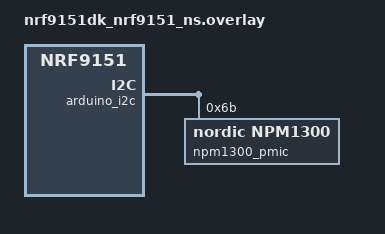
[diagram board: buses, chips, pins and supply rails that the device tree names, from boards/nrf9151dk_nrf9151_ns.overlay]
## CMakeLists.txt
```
cmake_minimum_required(VERSION 3.20.0)

find_package(Zephyr REQUIRED HINTS $ENV{ZEPHYR_BASE})
project(full_app_template)

# Application sources
target_sources(app PRIVATE
  src/main.c
  src/led.c
)

# ── cJSON include path ────────────────────────────────────────────────────────
target_include_directories(app PRIVATE
  ${ZEPHYR_CJSON_MODULE_DIR}
)

# ── Root CA cert ──────────────────────────────────────────────────────────────
# The Conexio Root CA (ConexioRootCA1.pem) is now embedded by the SDK itself.
# It lives in sdk/src/certs/ and is generated into conexio_root_ca.pem.inc
# by the SDK CMakeLists.txt — no entry needed here.
```

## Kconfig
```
mainmenu "Conexio Advanced Sample App"

# All production-grade feature configuration (PSM, FOTA, offline buffer,
# retry/watchdog) is defined in conexio-cloud-sdk/Kconfig under the
# CONFIG_CONEXIO_CLOUD_* namespace. Configure features via prj.conf.

config CONEXIO_SAMPLE_SIMULATED_SENSORS
	bool "Use simulated (random) sensor data"
	default y
	help
	  When enabled (default), temperature and humidity callbacks return
	  random values for demonstration purposes. A compiler warning is
	  emitted to prevent accidental production builds with fake data.

	  Set to n (CONFIG_CONEXIO_SAMPLE_SIMULATED_SENSORS=n in prj.conf)
	  and implement the real sensor reads in main.c before deploying
	  to production hardware.

config CELL_LOCATION
	bool "Enable cellular location for AWS Location Service"
	default n
	select LTE_LC_NEIGHBOR_CELL_MEAS_MODULE
	help
	  Enables AT%NCELLMEAS neighbor cell measurement and publishes the
	  results as telemetry metrics (_loc_mcc, _loc_mnc, _loc_cell_id,
	  _loc_tac, _loc_earfcn, _loc_rsrp, _loc_timing_adv, _loc_neighbors).

	  The cloud Lambda uses these metrics to call a positioning solver
	  (HERE / Combain) and update an AWS Location Tracker resource.
	  No positioning runs on the device — the firmware only collects
	  raw cell data.

	  Requires LTE_LC_NEIGHBOR_CELL_MEAS_MODULE (auto-selected).
	  Add CONFIG_CELL_LOCATION=y to prj.conf to enable.

source "Kconfig.zephyr"
```

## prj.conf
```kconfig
# =============================================================================
# Conexio Advanced Sample App — prj.conf
# nRF Connect SDK v3.2.1 / Conexio Stratus Pro (nRF9151)
#
# Most SDK dependencies (MQTT, modem, NTP, NVS, flash, FOTA subsystems,
# TLS, HTTP client, HWINFO, etc.) are auto-selected by CONFIG_CONEXIO_CLOUD
# via the SDK Kconfig. Only application-level overrides and options that
# have no SDK Kconfig equivalent are listed here.
# =============================================================================

# ── Conexio Cloud SDK ─────────────────────────────────────────────────────────
# CONFIG_CONEXIO_CLOUD=y is the only required entry. Everything else is
# auto-selected by the SDK Kconfig (MQTT, TLS, modem lib, NTP, etc.).
CONFIG_CONEXIO_CLOUD=y

# ── CBOR binary encoding ───────────────────────────────────────────────────────
# CBOR (Concise Binary Object Representation) encodes the same telemetry data
# as compact binary instead of JSON text, reducing SIM data usage by 50–70%
# on LTE-M/NB-IoT connections.
#
# How it works:
#   - The SDK encodes all metrics as a self-describing CBOR map (field names
#     are embedded — no schema required on the cloud side)
#   - The Conexio Cloud backend auto-detects CBOR payloads and decodes them
#     to standard JSON before processing — no dashboard changes needed
#   - The application code (main.c) is 100% encoding-agnostic: the same
#     sensor callbacks and metric names work for both JSON and CBOR
#
# Set =n to revert to JSON for debugging or if your cloud does not yet
# support CBOR (e.g. staging environment not updated).
CONFIG_CONEXIO_CLOUD_CBOR=y
# Static buffer for building each CBOR payload. 512 bytes fits all SDK
# auto-metrics plus ~10 application metrics. Increase if you have many
# metrics or long string values.
CONFIG_CONEXIO_CLOUD_CBOR_BUFFER_SIZE=512

# Telemetry publish interval in seconds. Valid range: 10–604800 (7 days).
# 60 = publish every 60 seconds. Increase for longer battery life.
CONFIG_CONEXIO_CLOUD_INTERVAL_SEC=3600

# ── Power Saving Mode (PSM) ───────────────────────────────────────────────────
# PSM puts the modem into µA-level sleep between transmissions.
#
# INTERVAL_SEC and PSM_TAU_SEC are intentionally independent:
#   - INTERVAL_SEC controls how often the app publishes telemetry
#   - PSM_TAU_SEC is a hint to the network — the carrier will grant its own
#     TAU value regardless (AT&T LTE-M typically grants 3-4 hours minimum)
#
# The SDK handles this correctly: power_mgr_wake() times out after INTERVAL_SEC
# so the device reconnects and publishes on schedule even when TAU > INTERVAL.
# The modem stays in the T3324 active window between publishes when TAU > INTERVAL.
#
# For best battery life on production: set both to the same value and let the
# device sleep fully between cycles. The carrier-granted TAU sets the actual
# sleep duration (e.g. AT&T grants ~3.5h minimum on Band 13).
CONFIG_CONEXIO_CLOUD_PSM=y
# Request 1-hour TAU — network will grant its minimum (AT&T: ~3.5h on Band 13).
# INTERVAL_SEC and TAU are decoupled — device publishes at INTERVAL_SEC rate.
CONFIG_CONEXIO_CLOUD_PSM_TAU_SEC=3600
# Stay awake 30s after each TAU wake (T3324 active timer)
CONFIG_CONEXIO_CLOUD_PSM_ACTIVE_TIME_SEC=10

# Enable required LTE link control modules
CONFIG_LTE_LC_RAI_MODULE=y
CONFIG_LTE_PSM_REQ=y

## RAI
CONFIG_LTE_RAI_REQ=y

# ── Offline telemetry buffer ──────────────────────────────────────────────────
# Stores telemetry in flash when offline; replays to cloud on reconnect.
# 100 entries at 60s interval = ~100 minutes of offline coverage.
CONFIG_CONEXIO_CLOUD_OFFLINE_BUFFER=y
CONFIG_CONEXIO_CLOUD_OFFLINE_BUFFER_SIZE=100
CONFIG_CONEXIO_CLOUD_OFFLINE_REPLAY_BATCH=10

# ── FOTA — Firmware Over-the-Air updates ──────────────────────────────────────
CONFIG_CONEXIO_CLOUD_FOTA=y
# Note: FOTA_DOWNLOAD_TIMEOUT_SEC is kept for documentation but is no longer
# passed to fota_download_start() in NCS v3.2.1. The actual timeout is
# controlled by CONFIG_FOTA_DOWNLOAD_TIMEOUT_MS (NCS default: 600000 ms).
CONFIG_CONEXIO_CLOUD_FOTA_DOWNLOAD_TIMEOUT_SEC=300

# ── Device type ────────────────────────────────────────────────────────────────
# Reported as the _device_type auto-metric on every boot. The Conexio Cloud
# backend uses this to populate the device-type registry and enforce FOTA
# firmware-to-device type matching (only compatible binaries are dispatched
# to this device). Format: ^[a-z0-9_-]{2,32}$
CONFIG_CONEXIO_CLOUD_DEVICE_TYPE="nrf9151"

# Connection type reported as the _conn_type auto-metric on every boot.
# Used by Fleet Health to show the correct signal metrics for this hardware.
# Change when targeting non-LTE devices (e.g. "wifi", "ethernet").
CONFIG_CONEXIO_CLOUD_CONN_TYPE="lte"

# Conexio Cloud firmware download URLs carry a large query string (~1700 chars).
# NCS default DOWNLOADER_MAX_FILENAME_SIZE=255 truncates the URL → HTTP 403.
# No SDK Kconfig equivalent — must be set explicitly here.
CONFIG_DOWNLOADER_STACK_SIZE=2048
CONFIG_DOWNLOADER_MAX_FILENAME_SIZE=2048

# ── Retry / watchdog ──────────────────────────────────────────────────────────
# Exponential backoff reconnection: 5s → 10s → 20s → ... → 300s.
# After 5 consecutive failures the device reboots (catches modem hangs).
# Hardware watchdog fires after 600s if the SDK loop stalls.
CONFIG_CONEXIO_CLOUD_RETRY=y
CONFIG_CONEXIO_CLOUD_RETRY_BASE_SEC=5
CONFIG_CONEXIO_CLOUD_RETRY_MAX_SEC=300
CONFIG_CONEXIO_CLOUD_RETRY_MAX_ATTEMPTS=5
CONFIG_CONEXIO_CLOUD_WATCHDOG_TIMEOUT_SEC=600

# ── Modem info categories ─────────────────────────────────────────────────────
# MODEM_INFO itself is auto-selected by CONFIG_CONEXIO_CLOUD. These two NCS
# options (not in SDK Kconfig, default=n) enable additional metric groups:
#   ADD_NETWORK → _rssi, _snr, _cell_id, _tac, _lte_band, _operator
#   ADD_DEVICE  → _modem_fw, _modem_temp
CONFIG_MODEM_INFO_ADD_NETWORK=y
CONFIG_MODEM_INFO_ADD_DEVICE=y

# ── Battery voltage (_battery_mv) ─────────────────────────────────────────────
# Stratus Pro uses the nPM1300 fuel gauge for accurate battery voltage.
# The SDK handles this automatically when CONFIG_NRF_FUEL_GAUGE=y —
# no application code needed. The less accurate modem AT%XVBAT path is
# disabled here.
# To revert to modem ADC: set CONFIG_CONEXIO_CLOUD_AUTO_BATTERY=y and
# remove CONFIG_NRF_FUEL_GAUGE / CONFIG_CONEXIO_CLOUD_BATTERY_METRICS below.
CONFIG_CONEXIO_CLOUD_AUTO_BATTERY=n

# ── Battery health metrics (nPM1300 fuel gauge) ────────────────────────────────
# SDK automatically initialises the fuel gauge (CONFIG_NRF_FUEL_GAUGE=y) and
# samples at 1 Hz when LTE is active. On PSM sleep enter, nrf_fuel_gauge_idle_set()
# is called with CONFIG_CONEXIO_FUEL_GAUGE_PSM_SLEEP_CURRENT_UA — the library
# integrates the known sleep current internally with zero CPU wake-ups.
# Publishes to the diagnostics topic on every publish cycle:
#   _batt_soc      — state of charge in percent (0–100)
#   _batt_drain_hr — average drain rate in %/hour (discharge only)
#   _batt_mv       — battery terminal voltage in millivolts
CONFIG_CONEXIO_CLOUD_BATTERY_METRICS=y

# nPM1300 PMIC + nRF Fuel Gauge
CONFIG_REGULATOR=y
CONFIG_SENSOR=y
CONFIG_I2C=y
CONFIG_NRF_FUEL_GAUGE=y
CONFIG_NRF_FUEL_GAUGE_VARIANT_SECONDARY_CELL=y
CONFIG_REQUIRES_FLOAT_PRINTF=y
CONFIG_CBPRINTF_FP_SUPPORT=y

# Fuel gauge configuration
# Active LTE:  sample at 1 Hz per Nordic NAN-045 recommendation.
# PSM sleep:   no sampling — nrf_fuel_gauge_idle_set() is called on
#              MODEM_SLEEP_ENTER with the expected system quiescent current.
#              Set PSM_SLEEP_CURRENT_UA to your measured sleep current.
#              (nRF9151 ~2.5 µA + nPM13xx ~8 µA + misc ~10 µA ≈ 20 µA)
CONFIG_CONEXIO_FUEL_GAUGE_ACTIVE_RATE_MS=1000
CONFIG_CONEXIO_FUEL_GAUGE_PSM_SLEEP_CURRENT_UA=4
CONFIG_CONEXIO_FUEL_GAUGE_STACK_SIZE=2048

# ── GPIO ──────────────────────────────────────────────────────────────────────
# Required for LED_ON / LED_OFF command handlers (on-board LED, gpio0 pin 25).
CONFIG_GPIO=y

# ── C library ─────────────────────────────────────────────────────────────────
# NEWLIB_LIBC initialises fdtable[0/1/2] preventing a fd=0 BusFault when the
# first TLS socket is allocated. Required alongside MQTT over TLS.
# POSIX_THREADS provides pthread_attr_t pulled in by date_time_modem.c.
CONFIG_POSIX_THREADS=y

# ── Stack / heap ──────────────────────────────────────────────────────────────
# Increase MAIN_STACK_SIZE if you see stack overflow crashes in main().
# Increase HEAP_MEM_POOL_SIZE if cJSON or FOTA job parsing fails with -ENOMEM.
CONFIG_MAIN_STACK_SIZE=8192
CONFIG_HEAP_MEM_POOL_SIZE=65536
CONFIG_SYSTEM_WORKQUEUE_STACK_SIZE=4096
CONFIG_CONEXIO_CLOUD_THREAD_STACK_SIZE=8192

# ── Logging ───────────────────────────────────────────────────────────────────
# Level 3 = INF (ERR=1, WRN=2, INF=3, DBG=4).
# For production/low-power builds use low_power.conf (CONFIG_LOG=n).
CONFIG_LOG=y
CONFIG_LOG_DEFAULT_LEVEL=3
CONFIG_LOG_BUFFER_SIZE=4096
CONFIG_UART_CONSOLE=y

# ── Reset on fatal error ──────────────────────────────────────────────────────
# Level 2 = full register + stack dump on fault before reset.
# Ensures field devices recover from hard faults instead of hanging.
CONFIG_RESET_ON_FATAL_ERROR=y
CONFIG_FAULT_DUMP=2

# ── Build overlays ────────────────────────────────────────────────────────────
# low_power.conf — disables UART console and logging for production/field builds:
#   west build ... -- -DEXTRA_CONF_FILE=low_power.conf
#
# debug.conf — enables DBG-level logging and assertions for development:
#   west build ... -- -DEXTRA_CONF_FILE=debug.conf
#
# prj_ingest_key.conf — developer quick-connect via ingest key (no fleet provisioning):
#   west build ... -- -DEXTRA_CONF_FILE=prj_ingest_key_dev.conf
#   (copy prj_ingest_key.conf to prj_ingest_key_dev.conf, fill in IMEI and key)

# ── Cellular location (AWS Location Service) ──────────────────────────────────
# Enables AT%NCELLMEAS neighbour cell measurement. Collected data is published
# as telemetry metrics and resolved to coordinates by the cloud Lambda:
#   _loc_mcc, _loc_mnc   — serving cell operator codes
#   _loc_cell_id, _loc_tac — cell and tracking area identifiers
#   _loc_earfcn, _loc_rsrp — frequency and signal strength
#   _loc_timing_adv      — distance proxy (~100 m resolution, when available)
#   _loc_neighbors       — JSON array of neighbour cells for better accuracy
#
# LTE_LC_NEIGHBOR_CELL_MEAS_MODULE is auto-selected by CONFIG_CELL_LOCATION
# in the SDK Kconfig — no extra entry needed here.
CONFIG_CELL_LOCATION=y

# How often to trigger a cell measurement, in seconds.
# Independent of the telemetry interval — publish telemetry frequently
# while only calling the positioning API a few times per day.
#
# Recommended values:
#   28800  (8 hours)  — 3 fixes/day, typical production field tracking  ← default
#   14400  (4 hours)  — 6 fixes/day, moderate tracking
#   3600   (1 hour)   — 24 fixes/day, high-frequency tracking
#   60     (1 min)    — development / pipeline testing only
#
# Cost guide (HERE Base Plan, 3 fixes/device/day):
#   10 devices  →   ~900 req/month — within free tier
#   100 devices →  ~9,000 req/month — ~$9/month at $1/1,000
CONFIG_CELL_LOCATION_INTERVAL_SEC=14400

# Neighbour cell search type — controls AT%NCELLMEAS scan depth.
# Uncomment ONE line to override the SDK default (1 = EXTENDED_LIGHT):
#   0 = DEFAULT        — fast (~1-3 s),   0-2  neighbours, accuracy ~±1-5 km
#   1 = EXTENDED_LIGHT — moderate (~3-8 s), 3-8  neighbours, accuracy ~±300m-1km (SDK default)
#   2 = EXTENDED       — thorough (~5-15 s), up to 17 neighbours, best accuracy
# CONFIG_CELL_LOCATION_SEARCH_TYPE=0
# CONFIG_CELL_LOCATION_SEARCH_TYPE=2

# Publish telemetry immediately after a location fix (default y).
# Set to n to let _loc_* metrics ride the next scheduled publish instead.
# CONFIG_CELL_LOCATION_PUBLISH_ON_FIX=n

# ── SDK improvements (sdk-improvements branch) ────────────────────────────────

# Session Run ID — a random 32-bit hex string generated at boot. Emitted once
# as _session_id in the first payload. Lets the cloud correlate all packets
# from one power-on session across MQTT reconnects without a flash write.
# Always enabled — no Kconfig option needed (zero-cost, zero-config).

# FOTA maintenance window — deferred start callback.
# Register via conexio_cloud_set_fota_can_start_cb() in main.c.
# Retry interval while waiting for the maintenance window to open:
# CONFIG_FOTA_PAUSE_RETRY_SEC=60   # default: check once per minute

# FOTA installed version check — automatically skips re-downloading a
# firmware version that is already installed. Enabled automatically when
# CONFIG_CONEXIO_CLOUD_FOTA=y. No extra Kconfig entry needed.

# Delta encoding for static LTE metrics — _lte_band, _cell_id, _tac are now
# only emitted when the value changes (plus on boot and every slow_interval
# as a heartbeat). Enabled automatically. No extra Kconfig entry needed.

# Cloud log streaming — forward Zephyr log messages to the cloud as a
# "_log" JSON array inside the regular telemetry payload.
# Default: disabled (n). Enable in prj.conf for field diagnostics.
# CONFIG_CONEXIO_CLOUD_LOG_STREAM=y
#
# Minimum severity to forward (0=DBG 1=INF 2=WRN 3=ERR). Default: 2 (WRN).
# CONFIG_CONEXIO_CLOUD_LOG_LEVEL=3
#
# Ring buffer depth (number of entries). Default: 16.
# CONFIG_CONEXIO_CLOUD_LOG_QUEUE_SIZE=16
#
# Max characters per log message. Default: 80.
# CONFIG_CONEXIO_LOG_MSG_LEN=80

# ── Topic architecture (production hardening) ─────────────────────────────────

# Topic version prefix — all D2C topics take the form:
#   {prefix}/devices/{deviceId}/{type}
# Default "v1". Change only when a breaking schema change is required.
# CONFIG_CONEXIO_CLOUD_TOPIC_VERSION="v1"

# ACK retry limit — number of times to retry a failed command/config ACK
# before dropping it. Default 5 (covers ~2.5s of outage at 500ms poll).
# CONFIG_CONEXIO_CLOUD_ACK_RETRY_MAX=5

# =============================================================================
# Log levels — configure per module without touching source files
# =============================================================================
# Levels: 0=OFF  1=ERR  2=WRN  3=INF  4=DBG
#
# All SDK modules default to INF. Uncomment and adjust here to increase or
# decrease verbosity for individual modules at build time.
#
# Module name         → Kconfig symbol
# ───────────────────────────────────────────────────────────────────────────
# app                 → CONFIG_LOG_OVERRIDE_LEVEL or module-specific below
# conexio_cloud       → CONFIG_LOG_CONEXIO_CLOUD_LEVEL (main SDK)
# mqtt_transport      → CONFIG_LOG_MQTT_TRANSPORT_LEVEL
# fuel_gauge          → CONFIG_LOG_FUEL_GAUGE_LEVEL
# cert_store          → CONFIG_LOG_CERT_STORE_LEVEL
# conexio_lte         → CONFIG_LOG_CONEXIO_LTE_LEVEL
# power_mgr           → CONFIG_LOG_POWER_MGR_LEVEL
# config_fetch        → CONFIG_LOG_CONFIG_FETCH_LEVEL
# cell_location       → CONFIG_LOG_CELL_LOCATION_LEVEL
# offline_buf         → CONFIG_LOG_OFFLINE_BUF_LEVEL
# fota                → CONFIG_LOG_FOTA_LEVEL
# retry               → CONFIG_LOG_RETRY_LEVEL
# =============================================================================

# Default: all SDK modules at INF (set in LOG_MODULE_REGISTER in each .c file)
# Uncomment below to enable full debug output for a specific module:
# CONFIG_LOG_MQTT_TRANSPORT_LEVEL=4
# CONFIG_LOG_CONEXIO_CLOUD_LEVEL=4
# CONFIG_LOG_FUEL_GAUGE_LEVEL=4
# CONFIG_LOG_POWER_MGR_LEVEL=4
# CONFIG_LOG_CERT_STORE_LEVEL=4
# CONFIG_LOG_FOTA_LEVEL=4

# TF-M minimal profile (required for bootloader partition layout)
CONFIG_TFM_PROFILE_TYPE_MINIMAL=y
```

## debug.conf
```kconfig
#
# Copyright (c) 2026 Conexio Technologies, Inc.
#
# Debug build overlay — enables verbose logging and assertions for development.
#
# Usage (build alongside prj.conf):
#   west build -b conexio_stratus_pro/nrf9151/ns -- \
#     -DEXTRA_CONF_FILE=debug.conf
#
# Effect:
#   - LOG_DEFAULT_LEVEL=4 (DBG) — all module logs including <dbg> output
#   - LOG_BUFFER_SIZE increased — prevents buffer overrun with verbose output
#   - ASSERT=y — enables __ASSERT() checks throughout Zephyr and the SDK;
#     a failed assertion halts the device with a descriptive crash log
#   - FAULT_DUMP=2 — full register + stack dump on any hard fault
#   - RESET_ON_FATAL_ERROR=n — halts on fatal error instead of rebooting,
#     so you can read the crash log over UART before it disappears
#
# Remove -DEXTRA_CONF_FILE=debug.conf for production/release builds.
#

# Verbose logging — level 4 = DBG (ERR=1, WRN=2, INF=3, DBG=4)
CONFIG_LOG_DEFAULT_LEVEL=4
CONFIG_LOG_BUFFER_SIZE=8192

# Assertions — catch logic errors early during development
CONFIG_ASSERT=y
CONFIG_ASSERT_VERBOSE=y

# Full crash dump — register state + stack trace on hard fault
CONFIG_FAULT_DUMP=2

# Halt on fatal error instead of rebooting — keep crash log visible on UART
CONFIG_RESET_ON_FATAL_ERROR=n
```

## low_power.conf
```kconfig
#
# Copyright (c) 2026 Conexio Technologies, Inc.
#
# Low-power build overlay — disable serial logging and enable modem sleep
# event tracking so the device reaches µA-level sleep current between
# telemetry transmissions.
#
# Usage (build alongside prj.conf):
#   west build -b conexio_stratus_pro/nrf9151/ns -- \
#     -DEXTRA_CONF_FILE=low_power.conf
#
# What this overlay does:
#   1. Disables UART console → ~1-2 mA saving in active mode
#   2. Disables LOG subsystem → no formatting overhead, smaller binary
#   3. Enables LTE modem sleep module → power_mgr.c receives
#      LTE_LC_EVT_MODEM_SLEEP_ENTER / EXIT events so it can:
#        - set g_psm_sleeping = true (gate for power_mgr_is_psm_active)
#        - notify the nPM1300 fuel gauge to stop 1 Hz sampling during PSM
#        - give the modem_ready_sem so power_mgr_wake() unblocks cleanly
#   4. Enables LTE PSM module → power_mgr.c receives LTE_LC_EVT_PSM_UPDATE
#      events confirming the network-granted TAU/T3324 timers
#
# Without items 3 and 4, the modem hardware still enters PSM sleep but the
# SDK never knows:
#   - g_psm_sleeping stays false → power_mgr_is_psm_active() always false
#   - Fuel gauge keeps sampling at 1 Hz the entire sleep period (wasted)
#   - modem_ready_sem is never signalled → power_mgr_wake() always times out
#     instead of unblocking immediately when the modem wakes naturally
#
# Combined with the boards/conexio_stratus_pro_nrf9151_ns.overlay which
# deletes the UART RX pin to prevent floating-pin current leakage.
#

# ── Disable serial console and logging ───────────────────────────────────────
CONFIG_SERIAL=n
CONFIG_UART_CONSOLE=n
CONFIG_LOG=n

# ── LTE modem sleep event tracking ───────────────────────────────────────────
# Enables LTE_LC_EVT_MODEM_SLEEP_ENTER and LTE_LC_EVT_MODEM_SLEEP_EXIT events
# in the power_mgr.c LTE event handler. Required for:
#   - g_psm_sleeping flag (gates power_mgr_is_psm_active())
#   - Fuel gauge sleep/wake notifications (conexio_fuel_gauge_on_sleep_enter/exit)
#   - modem_ready_sem signalling so power_mgr_wake() unblocks on PSM exit
CONFIG_LTE_LC_MODEM_SLEEP_MODULE=y

# ── LTE PSM update events ─────────────────────────────────────────────────────
# Enables LTE_LC_EVT_PSM_UPDATE events so power_mgr.c can track whether the
# network has actually granted PSM (g_psm_active flag). Without this, the SDK
# cannot distinguish "PSM granted" from "PSM denied" at runtime.
CONFIG_LTE_LC_PSM_MODULE=y
```

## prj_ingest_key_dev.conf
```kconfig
# =============================================================================
# prj_ingest_key_dev.conf — Ingest Key overlay for the DEV environment
#
# Apply on top of prj_ingest_key.conf for dev builds:
#   west build -b conexio_stratus_pro/nrf9151/ns --pristine \
#              -- -DEXTRA_CONF_FILE="prj_ingest_key.conf;prj_ingest_key_dev.conf"
#
# Steps:
#   1. Register the device IMEI in the dev console (d3lwq39x4chaqi.cloudfront.net)
#      → Device Manager → + Add Device
#   2. Get a dev ingest key from dev console → Organization → Ingest Keys
#   3. Set CONFIG_CONEXIO_CLOUD_INGEST_KEY in prj_ingest_key.conf (never commit it)
#   4. Build with BOTH overlays as shown above
#
# Why this file is needed:
#   ingest.mqtt.cloud.conexiotech.com is the PRODUCTION endpoint and routes to
#   ConexioIngestKeyAuthorizerProd. Dev ingest keys are validated by
#   ConexioIngestKeyAuthorizerDev which listens on a separate AWS-managed endpoint.
#   This overlay points the SDK at the dev domain config endpoint instead.
# =============================================================================

# Dev ingest endpoint — AWS-managed domain for conexio-ingest-dev domain config.
# This endpoint has ConexioIngestKeyAuthorizerDev attached which validates
# keys against iot-dashboard-ingest-keys-dev (dev DynamoDB table).
CONFIG_CONEXIO_CLOUD_INGEST_ENDPOINT="d04820601bybhat5l4fpv-ats.iot.us-east-1.amazonaws.com"
```

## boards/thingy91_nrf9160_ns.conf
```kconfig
# Thingy:91 uses an ADP5360 PMIC — no nPM1300, no pmic_charger DT node.
# Disable nRF Fuel Gauge and battery metrics to suppress the device-not-ready
# warning and avoid compiling in unused fuel gauge code.
# CONFIG_REGULATOR, CONFIG_SENSOR, and CONFIG_I2C are left unchanged;
# they are needed for other Thingy:91 hardware.
CONFIG_CONEXIO_CLOUD_BATTERY_METRICS=n
CONFIG_NRF_FUEL_GAUGE=n
CONFIG_NRF_FUEL_GAUGE_VARIANT_SECONDARY_CELL=n
```

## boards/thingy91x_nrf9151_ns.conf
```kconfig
# Thingy:91 X has an nPM1300 PMIC. The base DTS defines npm1300_charger
# (status=disabled) — the overlay adds the pmic_charger label and enables it.
# Battery metrics and fuel gauge are enabled here to match the Stratus Pro.
#
# Note: Thingy:91 X uses an LP803448 LiPol (675 mA, 4.2 V) — the charge
# specs differ from the Stratus Pro LP963450 but both work with the nRF Fuel
# Gauge library. SOC accuracy depends on how closely the battery model in the
# SDK matches the LP803448; tune CONFIG_CONEXIO_FUEL_GAUGE_PSM_SLEEP_CURRENT_UA
# for your actual board sleep current if needed.
CONFIG_CONEXIO_CLOUD_BATTERY_METRICS=y
CONFIG_NRF_FUEL_GAUGE=y
CONFIG_NRF_FUEL_GAUGE_VARIANT_SECONDARY_CELL=y
```

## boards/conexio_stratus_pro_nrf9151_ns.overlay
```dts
/*
 * Copyright (c) 2024 Conexio Technologies, Inc
 *
 * SPDX-License-Identifier: Apache-2.0
 *
 * Conexio Stratus Pro (nRF9151) overlay for the Conexio Cloud SDK full_app_template.
 *
 * Partition layout:
 *   nrf91_bootloader_partitions.dtsi — MCUboot + application slot layout
 *   nrf91_sram_partitions.dtsi       — NS SRAM partition definitions
 *
 * LED GPIO — inherited from conexio_stratus_pro_common.dtsi:
 *   led0 alias → gpio0 pin 25, GPIO_ACTIVE_HIGH
 *
 * nPM1300 fuel gauge — I2C pull-ups for pmic_charger on i2c2:
 *   The nPM1300 PMIC (npm1300@6b) and its pmic_charger node are defined
 *   in conexio_stratus_pro_common.dtsi. Only the i2c2 pin pull-up needs
 *   to be enabled here to reliably communicate with the PMIC over I2C.
 *
 * nPM1300 NTC — the Stratus Pro does not have a thermistor physically
 *   connected to the NTC pin. thermistor-ohms = <0> tells the driver
 *   (npm13xx_charger.c) to write CHGR_OFFSET_DIS_SET bit 1 = 1, which
 *   disables the NTC comparator. Without this the charger halts because
 *   it sees an open circuit on the NTC pin and reports garbage temperature.
 *
 * UART0 — low-power configuration:
 *   When building with low_power.conf (CONFIG_SERIAL=n / CONFIG_LOG=n),
 *   the UART RX pin is deleted to prevent current leakage through a
 *   floating or undriven RX line.
 */

#include <samples/cellular/nrf91_bootloader_partitions.dtsi>

#include <samples/cellular/nrf91_sram_partitions.dtsi>

/* Enable I2C pull-ups for nPM1300 PMIC communication */
&i2c2_default {
	group1 {
		bias-pull-up;
	};
};

/* nPM1300 charger — disable NTC (no thermistor populated on this board).
 * thermistor-ohms = <0> → driver sets thermistor_idx = 0 → automatically
 * writes CHGR_OFFSET_DIS_SET bit 1 at init (NTC comparator disabled).
 * thermistor-beta must be present (binding marks it required) but is
 * ignored by the driver when thermistor-ohms = 0. */
&pmic_charger {
	thermistor-ohms = <0>;
	thermistor-beta = <0>;
};

/* UART0 — delete RX pin to avoid floating-pin leakage in low-power builds */
&uart0 {
	status = "okay";
	current-speed = <115200>;
	/delete-property/ rx-pin;
};
```

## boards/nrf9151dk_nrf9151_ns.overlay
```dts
/*
 * Copyright (c) 2025 Nordic Semiconductor ASA
 *
 * SPDX-License-Identifier: LicenseRef-Nordic-5-Clause
 *
 * LED GPIO — inherited from nrf9151dk_nrf9151_common.dtsi:
 *   led0 alias → gpio0 pin 0, GPIO_ACTIVE_HIGH
 *   No LED overlay entry needed; the base DTS already provides the led0 alias.
 */

#include <samples/cellular/nrf91_bootloader_partitions.dtsi>
#include <samples/cellular/nrf91_sram_partitions.dtsi>
#include <zephyr/dt-bindings/regulator/npm13xx.h>

/* Enable I2C pull-ups for nPM1300 PMIC communication.
 * nRF9151DK arduino_i2c = &i2c2 (SDA: P0.30, SCL: P0.31). */
&i2c2_default {
	group1 {
		bias-pull-up;
	};
};

/* nPM1300 PMIC via nPM1300-EK expansion board (address 0x6b on Arduino I2C).
 * Defines pmic_charger label required by the Conexio Cloud SDK fuel gauge.
 *
 * NTC disabled (thermistor-ohms = <0>) — the nPM1300-EK thermistor header
 * may not have a thermistor connected. With thermistor-ohms = <0> the driver
 * writes CHGR_OFFSET_DIS_SET bit 1, disabling the NTC comparator so the
 * charger does not halt on an open-circuit NTC reading.
 * thermistor-beta is required by the binding but ignored when ohms = 0. */
&arduino_i2c {
	npm1300_pmic: pmic@6b {
		compatible = "nordic,npm1300";
		reg = <0x6b>;

		pmic_charger: charger {
			compatible = "nordic,npm1300-charger";
			term-microvolt = <4200000>;
			term-warm-microvolt = <4000000>;
			current-microamp = <150000>;
			dischg-limit-microamp = <1000000>;
			vbus-limit-microamp = <500000>;
			thermistor-ohms = <0>;
			thermistor-beta = <0>;
			charging-enable;
		};
	};
};
```

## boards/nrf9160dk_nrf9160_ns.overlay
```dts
/*
 * Copyright (c) 2025 Nordic Semiconductor ASA
 *
 * SPDX-License-Identifier: LicenseRef-Nordic-5-Clause
 *
 * LED GPIO — inherited from nrf9160dk_nrf9160_common.dtsi:
 *   led0 alias → gpio0 pin 2, active-high (no polarity flag)
 *   No LED overlay entry needed; the base DTS already provides the led0 alias.
 */

#include <samples/cellular/nrf91_bootloader_partitions.dtsi>
#include <samples/cellular/nrf91_sram_partitions.dtsi>
#include <zephyr/dt-bindings/regulator/npm13xx.h>

/* Enable I2C pull-ups for nPM1300 PMIC communication.
 * nRF9160DK arduino_i2c = &i2c2 (SDA: P0.30, SCL: P0.31). */
&i2c2_default {
	group1 {
		bias-pull-up;
	};
};

/* nPM1300 PMIC via nPM1300-EK expansion board (address 0x6b on Arduino I2C).
 * Defines pmic_charger label required by the Conexio Cloud SDK fuel gauge.
 *
 * NTC disabled (thermistor-ohms = <0>) — the nPM1300-EK thermistor header
 * may not have a thermistor connected. With thermistor-ohms = <0> the driver
 * writes CHGR_OFFSET_DIS_SET bit 1, disabling the NTC comparator so the
 * charger does not halt on an open-circuit NTC reading.
 * thermistor-beta is required by the binding but ignored when ohms = 0. */
&arduino_i2c {
	npm1300_pmic: pmic@6b {
		compatible = "nordic,npm1300";
		reg = <0x6b>;

		pmic_charger: charger {
			compatible = "nordic,npm1300-charger";
			term-microvolt = <4200000>;
			term-warm-microvolt = <4000000>;
			current-microamp = <150000>;
			dischg-limit-microamp = <1000000>;
			vbus-limit-microamp = <500000>;
			thermistor-ohms = <0>;
			thermistor-beta = <0>;
			charging-enable;
		};
	};
};
```

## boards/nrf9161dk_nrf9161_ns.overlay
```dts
/*
 * Copyright (c) 2025 Nordic Semiconductor ASA
 *
 * SPDX-License-Identifier: LicenseRef-Nordic-5-Clause
 *
 * LED GPIO — inherited from nrf9161dk_nrf9161_common.dtsi:
 *   led0 alias → gpio0 pin 0, GPIO_ACTIVE_HIGH
 *   No LED overlay entry needed; the base DTS already provides the led0 alias.
 */

#include <samples/cellular/nrf91_bootloader_partitions.dtsi>
#include <samples/cellular/nrf91_sram_partitions.dtsi>
```

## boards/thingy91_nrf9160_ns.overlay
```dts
/*
 * Copyright (c) 2025 Nordic Semiconductor ASA
 *
 * SPDX-License-Identifier: LicenseRef-Nordic-5-Clause
 *
 * Partition layout — the Thingy:91 board DTS already defines its own
 *   complete flash + SRAM partitions (thingy91_nrf9160_partition.dtsi
 *   + nrf91_partition_sram.dtsi). No partition overlay entries needed here;
 *   adding nrf91_bootloader_partitions.dtsi would cause a DTS conflict because
 *   the board uses its own immutable bootloader partition scheme.
 *
 * LED GPIO — inherited from thingy91_nrf9160_common.dtsi:
 *   led0 alias → red_led → gpio0 pin 29, active-high
 *   No LED overlay entry needed.
 *
 * PMIC — Thingy:91 uses an ADP5360 PMIC (not nPM1300). Battery metrics
 *   are disabled for this board via thingy91_nrf9160_ns.conf.
 */
```

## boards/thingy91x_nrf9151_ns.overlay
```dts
/*
 * Copyright (c) 2025 Nordic Semiconductor ASA
 *
 * SPDX-License-Identifier: LicenseRef-Nordic-5-Clause
 *
 * Partition layout — the Thingy:91 X board DTS already defines its own
 *   complete flash + SRAM partitions (thingy91x_nrf9151_partition.dtsi
 *   + nrf91_partition_sram.dtsi). No partition overlay entries needed here;
 *   adding nrf91_bootloader_partitions.dtsi would cause a DTS conflict because
 *   the board uses b0_partition, not boot_partition.
 *
 * LED GPIO — inherited from thingy91x_nrf9151_common.dtsi:
 *   led0 alias → red_led → gpio0 pin 29, active-high
 *   No LED overlay entry needed.
 *
 * nPM1300 charger — the base DTS defines npm1300_charger with status=disabled.
 *   Adding the pmic_charger label and enabling the node makes
 *   DEVICE_DT_GET(DT_NODELABEL(pmic_charger)) in fuel_gauge.c resolve correctly.
 *   Battery specs (LP803448, 675 mA, 4.2 V) are already correct in the base
 *   DTS node and are inherited without change.
 */

pmic_charger: &npm1300_charger {
	status = "okay";
};
```

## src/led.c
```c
/*
 * Copyright (c) 2026 Conexio Technologies, Inc.
 *
 * SPDX-License-Identifier: Apache-2.0
 */

#include "led.h"
#include <zephyr/kernel.h>
#include <zephyr/devicetree.h>
#include <zephyr/drivers/gpio.h>
#include <zephyr/logging/log.h>

LOG_MODULE_REGISTER(led, LOG_LEVEL_INF);

/*
 * All six supported boards (Conexio Stratus Pro, nRF9151-DK, nRF9160-DK,
 * nRF9161-DK, Thingy:91, Thingy:91 X) define a led0 alias in their base DTSI,
 * so the DT_HAS_ALIAS(led0) active branch is always taken for those boards.
 * The #else no-op branch exists for forward compatibility with any future
 * board that has no user-accessible LED.
 */
#if DT_HAS_ALIAS(led0)

static const struct gpio_dt_spec g_led = GPIO_DT_SPEC_GET(DT_ALIAS(led0), gpios);

int led_init(void)
{
	if (!gpio_is_ready_dt(&g_led)) {
		LOG_ERR("LED GPIO device not ready");
		return -ENODEV;
	}

	int ret = gpio_pin_configure_dt(&g_led, GPIO_OUTPUT_INACTIVE);
	if (ret != 0) {
		LOG_ERR("LED GPIO configure failed (%d)", ret);
		return ret;
	}

	LOG_INF("LED GPIO ready (pin %d)", g_led.pin);

	/* Boot indicator -- blink LED on for 2 s then off so the user
	 * can confirm the board has started without a serial cable. */
	ret = gpio_pin_set_dt(&g_led, 1);
	if (ret != 0) {
		LOG_ERR("LED boot-blink on failed (%d)", ret);
	}
	k_sleep(K_SECONDS(2));
	ret = gpio_pin_set_dt(&g_led, 0);
	if (ret != 0) {
		LOG_ERR("LED boot-blink off failed (%d)", ret);
	}

	return 0;
}

void led_on(int led_num)
{
	ARG_UNUSED(led_num); /* Only LED 0 is supported currently */
	int ret = gpio_pin_set_dt(&g_led, 1);
	if (ret != 0) {
		LOG_ERR("led_on: gpio_pin_set_dt failed (%d)", ret);
	} else {
		LOG_INF("LED is ON");
	}
}

void led_off(int led_num)
{
	ARG_UNUSED(led_num); /* Only LED 0 is supported currently */
	int ret = gpio_pin_set_dt(&g_led, 0);
	if (ret != 0) {
		LOG_ERR("led_off: gpio_pin_set_dt failed (%d)", ret);
	} else {
		LOG_INF("LED is OFF");
	}
}

#else /* !DT_HAS_ALIAS(led0) */

int led_init(void)
{
	LOG_DBG("No led0 alias defined for this board -- LED init is a no-op");
	return 0;
}

void led_on(int led_num)
{
	ARG_UNUSED(led_num);
	LOG_DBG("No led0 alias defined for this board -- LED on is a no-op");
}

void led_off(int led_num)
{
	ARG_UNUSED(led_num);
	LOG_DBG("No led0 alias defined for this board -- LED off is a no-op");
}

#endif /* DT_HAS_ALIAS(led0) */
```

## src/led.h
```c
/*
 * Copyright (c) 2026 Conexio Technologies, Inc.
 *
 * SPDX-License-Identifier: Apache-2.0
 */

/**
 * @file led.h
 * @brief Platform-agnostic LED control API for Conexio samples.
 *
 * The implementation (led.c) uses the Zephyr GPIO DT API and may be
 * replaced per platform without changing this header or its callers.
 */

#ifndef CONEXIO_LED_H
#define CONEXIO_LED_H

/**
 * @brief Initialize the LED subsystem.
 *
 * Configures the on-board LED as an output (initially OFF), then
 * performs a 2-second boot-indicator blink so the user can confirm
 * the board has started without a serial cable.
 *
 * Must be called before led_on() or led_off().
 *
 * @return 0 on success, negative errno on failure.
 */
int led_init(void);

/**
 * @brief Turn on the specified LED.
 *
 * @param led_num LED index (0-based). Only LED 0 is currently supported.
 */
void led_on(int led_num);

/**
 * @brief Turn off the specified LED.
 *
 * @param led_num LED index (0-based). Only LED 0 is currently supported.
 */
void led_off(int led_num);

#endif /* CONEXIO_LED_H */
```
